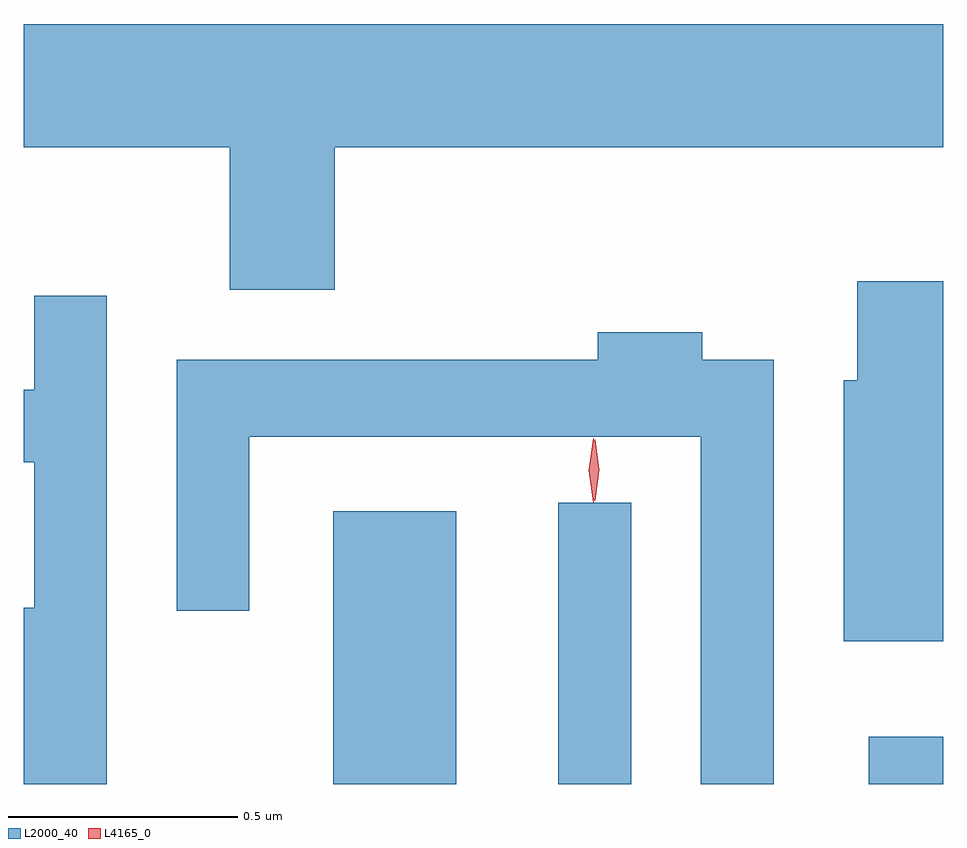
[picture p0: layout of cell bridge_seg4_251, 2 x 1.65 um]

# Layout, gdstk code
import gdstk
lib = gdstk.Library(unit=1e-6, precision=1e-09)
def R(c, l, rs):  # rectangles x0, y0, x1, y1
    for r in rs: c.add(gdstk.rectangle(r[:2], r[2:], *l))
def P(c, l, *ps):  # polygons
    for p in ps: c.add(gdstk.Polygon(p, *l))
L2000_40 = (2000, 40)
L4165_0 = (4165, 0)

bridge_seg4_251 = lib.new_cell('bridge_seg4_251')
R(bridge_seg4_251, L2000_40, [(623.006,1328.871,623.274,1329.464), (623.496,1328.871,623.654,1329.483), (624.171,1328.871,624.333,1328.974)])
P(bridge_seg4_251, L2000_40, [(623.009,1330.256),(624.333,1330.256),(624.333,1330.524),(622.333,1330.524),(622.333,1330.256),(622.781,1330.256),(622.781,1329.946),(623.009,1329.946)],
  [(624.333,1329.964),(624.146,1329.964),(624.146,1329.749),(624.116,1329.749),(624.116,1329.181),(624.333,1329.181)],
  [(622.514,1329.933),(622.356,1329.933),(622.356,1329.729),(622.333,1329.729),(622.333,1329.571),(622.356,1329.571),(622.356,1329.254),(622.333,1329.254),(622.333,1328.871),(622.514,1328.871)],
  [(623.964,1329.794),(623.809,1329.794),(623.809,1329.854),(623.581,1329.854),(623.581,1329.794),(622.666,1329.794),(622.666,1329.248),(622.824,1329.248),(622.824,1329.626),(623.806,1329.626),(623.806,1328.871),(623.964,1328.871)])
P(bridge_seg4_251, L4165_0, [(623.572,1329.484),(623.572,1329.484),(623.562,1329.553),(623.572,1329.622),(623.572,1329.623),(623.573,1329.622),(623.582,1329.553),(623.573,1329.484)],
  [(623.575,1329.487),(623.575,1329.487),(623.566,1329.554),(623.575,1329.62),(623.576,1329.62),(623.576,1329.62),(623.585,1329.554),(623.576,1329.487)])

lib.write_gds('bridge_seg4_251.gds')
